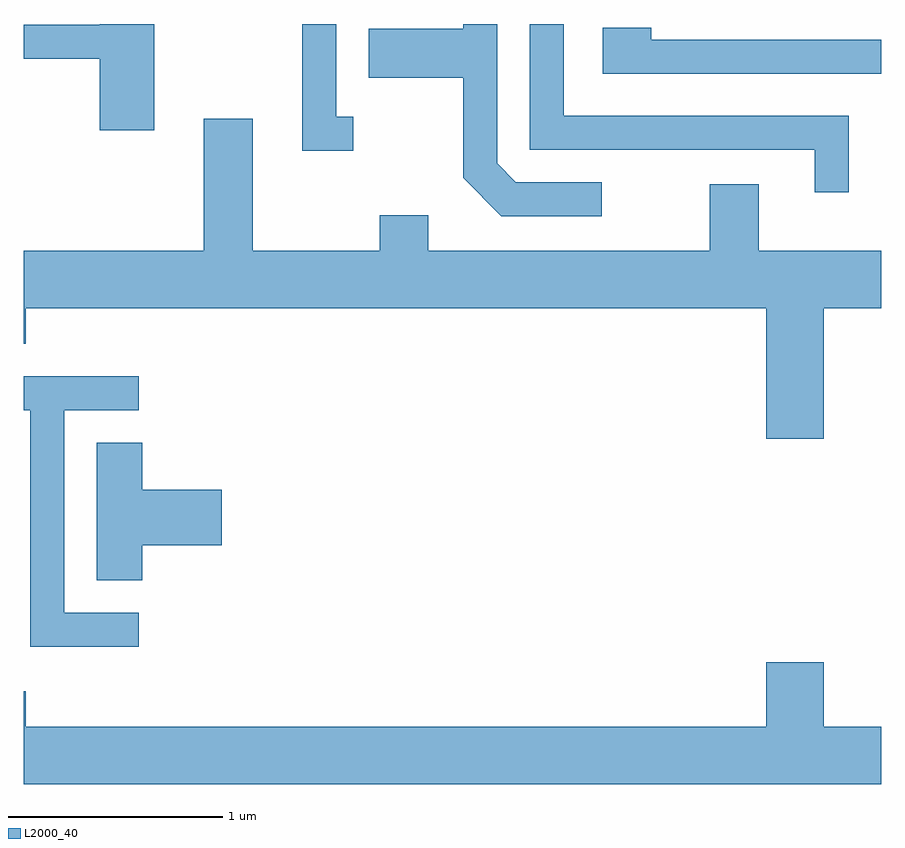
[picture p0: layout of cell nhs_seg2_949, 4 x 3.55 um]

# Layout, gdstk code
import gdstk
lib = gdstk.Library(unit=1e-6, precision=1e-09)
def P(c, l, *ps):  # polygons
    for p in ps: c.add(gdstk.Polygon(p, *l))
L2000_40 = (2000, 40)

nhs_seg2_949 = lib.new_cell('nhs_seg2_949')
P(nhs_seg2_949, L2000_40, [(215.459,1111.374),(214.129,1111.374),(214.129,1111.802),(213.971,1111.802),(213.971,1111.216),(215.301,1111.216),(215.301,1111.018),(215.459,1111.018)],
  [(213.148,1111.369),(213.069,1111.369),(213.069,1111.802),(212.911,1111.802),(212.911,1111.211),(213.148,1111.211)],
  [(214.308,1111.064),(213.907,1111.064),(213.819,1111.152),(213.819,1111.802),(213.661,1111.802),(213.661,1111.779),(213.221,1111.779),(213.221,1111.551),(213.661,1111.551),(213.661,1111.084),(213.839,1110.906),(214.308,1110.906)],
  [(212.219,1111.802),(211.966,1111.802),(211.966,1111.799),(211.611,1111.799),(211.611,1111.641),(211.966,1111.641),(211.966,1111.306),(212.219,1111.306)],
  [(215.611,1111.729),(214.539,1111.729),(214.539,1111.784),(214.311,1111.784),(214.311,1111.571),(215.611,1111.571)],
  [(215.344,1110.476),(215.611,1110.476),(215.611,1110.744),(215.039,1110.744),(215.039,1111.054),(214.811,1111.054),(214.811,1110.744),(213.499,1110.744),(213.499,1110.909),(213.271,1110.909),(213.271,1110.744),(212.679,1110.744),(212.679,1111.359),(212.451,1111.359),(212.451,1110.744),(211.611,1110.744),(211.611,1110.311),(211.619,1110.311),(211.619,1110.476),(215.076,1110.476),(215.076,1109.866),(215.344,1109.866)],
  [(212.148,1109.054),(211.799,1109.054),(211.799,1110.001),(212.148,1110.001),(212.148,1110.159),(211.611,1110.159),(211.611,1110.001),(211.641,1110.001),(211.641,1108.896),(212.148,1108.896)],
  [(212.164,1109.371),(212.534,1109.371),(212.534,1109.629),(212.164,1109.629),(212.164,1109.849),(211.951,1109.849),(211.951,1109.206),(212.164,1109.206)],
  [(215.611,1108.524),(215.344,1108.524),(215.344,1108.824),(215.076,1108.824),(215.076,1108.524),(211.619,1108.524),(211.619,1108.689),(211.611,1108.689),(211.611,1108.256),(215.611,1108.256)])

lib.write_gds('nhs_seg2_949.gds')
